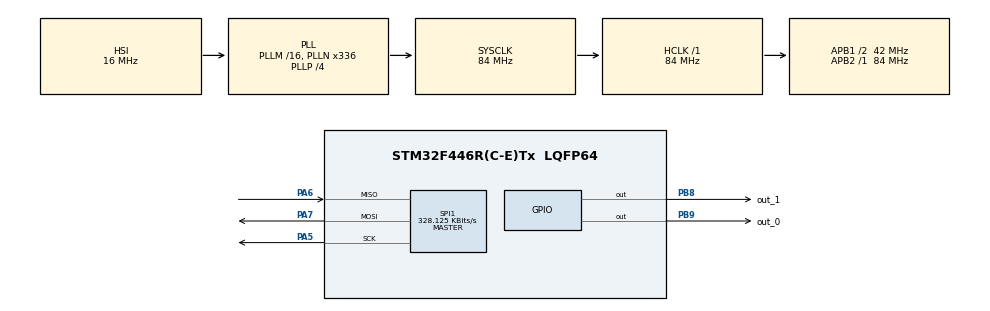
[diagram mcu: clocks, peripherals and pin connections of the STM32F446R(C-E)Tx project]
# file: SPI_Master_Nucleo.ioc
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Mcu.Family=STM32F4
Mcu.Name=STM32F446R(C-E)Tx
Mcu.Package=LQFP64
NVIC.PriorityGroup=NVIC_PRIORITYGROUP_0
NVIC.SPI1_IRQn=true\:0\:0\:false\:false\:true\:true\:true\:true
PA13.Mode=Serial_Wire
PA13.Signal=SYS_JTMS-SWDIO
PA14.Mode=Serial_Wire
PA14.Signal=SYS_JTCK-SWCLK
PA5.Mode=Full_Duplex_Master
PA5.Signal=SPI1_SCK
PA6.Mode=Full_Duplex_Master
PA6.Signal=SPI1_MISO
PA7.Mode=Full_Duplex_Master
PA7.Signal=SPI1_MOSI
PB8.GPIO_Label=out_1
PB8.Signal=GPIO_Output
PB9.GPIO_Label=out_0
PB9.Signal=GPIO_Output
PC14-OSC32_IN.Mode=LSE-External-Oscillator
PC14-OSC32_IN.Signal=RCC_OSC32_IN
PC15-OSC32_OUT.Mode=LSE-External-Oscillator
PC15-OSC32_OUT.Signal=RCC_OSC32_OUT
PH0-OSC_IN.Mode=HSE-External-Oscillator
PH0-OSC_IN.Signal=RCC_OSC_IN
PH1-OSC_OUT.Mode=HSE-External-Oscillator
PH1-OSC_OUT.Signal=RCC_OSC_OUT
ProjectManager.HeapSize=0x200
ProjectManager.StackSize=0x400
ProjectManager.TargetToolchain=STM32CubeIDE
RCC.48MHZClocksFreq_Value=84000000
RCC.AHBFreq_Value=84000000
RCC.APB1CLKDivider=RCC_HCLK_DIV2
RCC.APB1Freq_Value=42000000
RCC.APB1TimFreq_Value=84000000
RCC.APB2Freq_Value=84000000
RCC.APB2TimFreq_Value=84000000
RCC.CortexFreq_Value=84000000
RCC.FLatency-AdvancedSettings=FLASH_LATENCY_2
RCC.HCLKFreq_Value=84000000
RCC.HSE_VALUE=8000000
RCC.HSI_VALUE=16000000
RCC.PLLN=336
RCC.PLLP=RCC_PLLP_DIV4
RCC.SYSCLKFreq_VALUE=84000000
RCC.SYSCLKSource=RCC_SYSCLKSOURCE_PLLCLK
RCC.USBFreq_Value=168000000
RCC.VCOOutputFreq_Value=336000000
SPI1.BaudRatePrescaler=SPI_BAUDRATEPRESCALER_256
SPI1.CalculateBaudRate=328.125 KBits/s
SPI1.Direction=SPI_DIRECTION_2LINES
SPI1.Mode=SPI_MODE_MASTER
SPI1.VirtualType=VM_MASTER
board=NUCLEO-F446RE

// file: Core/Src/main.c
/* USER CODE BEGIN Header */
/**
  ******************************************************************************
  * @file           : main.c
  * @brief          : Main program body
  ******************************************************************************
  * @attention
  *
  * Copyright (c) 2023 STMicroelectronics.
  * All rights reserved.
  *
  * This software is licensed under terms that can be found in the LICENSE file
  * in the root directory of this software component.
  * If no LICENSE file comes with this software, it is provided AS-IS.
  *
  ******************************************************************************
  */
/* USER CODE END Header */
#include "main.h"
#include <math.h>

SPI_HandleTypeDef hspi1;

/* USER CODE BEGIN PV */
uint8_t  transmit_val[1];
/* USER CODE END PV */

void SystemClock_Config(void);
static void MX_GPIO_Init(void);
static void MX_SPI1_Init(void);

int main(void)
{

  /* MCU Configuration--------------------------------------------------------*/

  /* Reset of all peripherals, Initializes the Flash interface and the Systick. */
  HAL_Init();

  /* Configure the system clock */
  SystemClock_Config();

  /* Initialize all configured peripherals */
  MX_GPIO_Init();
  MX_SPI1_Init();
  /* USER CODE BEGIN 2 */
  HAL_SYSTICK_Config(SystemCoreClock / 1000);
  /* USER CODE END 2 */

  /* Infinite loop */
  /* USER CODE BEGIN WHILE */
  uint32_t hold_tick=0;
  uint8_t block_counter=0;
  while (1)
  {
	  ////////////////////////////////////////////////////////////////////////////////////////////////////////////////////////////////////////////////////////////////////////////////////////////////////
	  if(block_counter == 0 && abs((HAL_GetTick()-hold_tick >=5000))){
		  transmit_val[0] = 11;
				  HAL_SPI_Transmit(&hspi1,  transmit_val, sizeof(transmit_val), 100);
				  HAL_GPIO_WritePin(GPIOB, out_0_Pin, GPIO_PIN_RESET);
				  HAL_GPIO_WritePin(GPIOB, out_1_Pin, GPIO_PIN_RESET);

				  block_counter++;
				  hold_tick = HAL_GetTick();
	  }
		  ///////////////////////////////////////////////////////////////////////////////////////////////////////////////////////////////////////////////////
	  if(abs((HAL_GetTick()-hold_tick >=5000)) && block_counter == 1){	////////////////////////////////////////////////////////////////////////////////////////////////////////////////////////////////////////////////////////////////////////////////////////////////////
		  transmit_val[0] = 22;

					  HAL_SPI_Transmit(&hspi1,  transmit_val, sizeof(transmit_val), 100);
					  HAL_GPIO_WritePin(GPIOB, out_0_Pin, GPIO_PIN_RESET);
					  HAL_GPIO_WritePin(GPIOB, out_1_Pin, GPIO_PIN_RESET);

					  block_counter++;
					  hold_tick = HAL_GetTick();
			  ///////////////////////////////////////////////////////////////////////////////////////////////////////////////////////////////////////////////////
		  }
	  if(abs((HAL_GetTick()-hold_tick >=5000)) && block_counter == 2){	////////////////////////////////////////////////////////////////////////////////////////////////////////////////////////////////////////////////////////////////////////////////////////////////////
		  transmit_val[0] = 11;

					  HAL_SPI_Transmit(&hspi1,  transmit_val, sizeof(transmit_val), 100);
					  HAL_GPIO_WritePin(GPIOB, out_0_Pin, GPIO_PIN_SET);
					  HAL_GPIO_WritePin(GPIOB, out_1_Pin, GPIO_PIN_RESET);

					  block_counter++;
					  hold_tick = HAL_GetTick();
			  ///////////////////////////////////////////////////////////////////////////////////////////////////////////////////////////////////////////////////
		  }
	  if(abs((HAL_GetTick()-hold_tick >=5000)) && block_counter == 3){	////////////////////////////////////////////////////////////////////////////////////////////////////////////////////////////////////////////////////////////////////////////////////////////////////
		  transmit_val[0] = 22;

					  HAL_SPI_Transmit(&hspi1,  transmit_val, sizeof(transmit_val), 100);
					  HAL_GPIO_WritePin(GPIOB, out_0_Pin, GPIO_PIN_SET);
					  HAL_GPIO_WritePin(GPIOB, out_1_Pin, GPIO_PIN_RESET);

					  block_counter++;
					  hold_tick = HAL_GetTick();
			  ///////////////////////////////////////////////////////////////////////////////////////////////////////////////////////////////////////////////////
		  }
	  if(abs((HAL_GetTick()-hold_tick >=5000)) && block_counter == 4){	////////////////////////////////////////////////////////////////////////////////////////////////////////////////////////////////////////////////////////////////////////////////////////////////////
		  transmit_val[0] = 11;

					  HAL_SPI_Transmit(&hspi1,  transmit_val, sizeof(transmit_val), 100);
					  HAL_GPIO_WritePin(GPIOB, out_0_Pin, GPIO_PIN_RESET);
					  HAL_GPIO_WritePin(GPIOB, out_1_Pin, GPIO_PIN_SET);

					  block_counter++;
					  hold_tick = HAL_GetTick();
			  ///////////////////////////////////////////////////////////////////////////////////////////////////////////////////////////////////////////////////
		  }
	  if(abs((HAL_GetTick()-hold_tick >=5000))  && block_counter == 5){	////////////////////////////////////////////////////////////////////////////////////////////////////////////////////////////////////////////////////////////////////////////////////////////////////
		  transmit_val[0] = 22;

					  HAL_SPI_Transmit(&hspi1,  transmit_val, sizeof(transmit_val), 100);
					  HAL_GPIO_WritePin(GPIOB, out_0_Pin, GPIO_PIN_RESET);
					  HAL_GPIO_WritePin(GPIOB, out_1_Pin, GPIO_PIN_SET);

					  block_counter++;
					  hold_tick = HAL_GetTick();
			  ///////////////////////////////////////////////////////////////////////////////////////////////////////////////////////////////////////////////////
		  }
	  if(abs((HAL_GetTick()-hold_tick >=5000))&& block_counter == 6){	////////////////////////////////////////////////////////////////////////////////////////////////////////////////////////////////////////////////////////////////////////////////////////////////////
		  transmit_val[0] = 11;

					  HAL_SPI_Transmit(&hspi1,  transmit_val, sizeof(transmit_val), 100);
					  HAL_GPIO_WritePin(GPIOB, out_0_Pin, GPIO_PIN_SET);
					  HAL_GPIO_WritePin(GPIOB, out_1_Pin, GPIO_PIN_SET);

					  block_counter++;
					  hold_tick = HAL_GetTick();
			  ///////////////////////////////////////////////////////////////////////////////////////////////////////////////////////////////////////////////////
		  }
	  if(abs((HAL_GetTick()-hold_tick >=5000)) && block_counter == 7){	////////////////////////////////////////////////////////////////////////////////////////////////////////////////////////////////////////////////////////////////////////////////////////////////////
		  transmit_val[0] = 22;

					  HAL_SPI_Transmit(&hspi1,  transmit_val, sizeof(transmit_val), 100);
					  HAL_GPIO_WritePin(GPIOB, out_0_Pin, GPIO_PIN_SET);
					  HAL_GPIO_WritePin(GPIOB, out_1_Pin, GPIO_PIN_SET);

					  block_counter=0;
					  hold_tick = HAL_GetTick();
			  ///////////////////////////////////////////////////////////////////////////////////////////////////////////////////////////////////////////////////
		  }
  }
	    /* USER CODE END WHILE */
  /* USER CODE END 3 */
}

void SystemClock_Config(void)
{
  RCC_OscInitTypeDef RCC_OscInitStruct = {0};
  RCC_ClkInitTypeDef RCC_ClkInitStruct = {0};

  /** Configure the main internal regulator output voltage
  */
  __HAL_RCC_PWR_CLK_ENABLE();
  __HAL_PWR_VOLTAGESCALING_CONFIG(PWR_REGULATOR_VOLTAGE_SCALE3);

  /** Initializes the RCC Oscillators according to the specified parameters
  * in the RCC_OscInitTypeDef structure.
  */
  RCC_OscInitStruct.OscillatorType = RCC_OSCILLATORTYPE_HSI;
  RCC_OscInitStruct.HSIState = RCC_HSI_ON;
  RCC_OscInitStruct.HSICalibrationValue = RCC_HSICALIBRATION_DEFAULT;
  RCC_OscInitStruct.PLL.PLLState = RCC_PLL_ON;
  RCC_OscInitStruct.PLL.PLLSource = RCC_PLLSOURCE_HSI;
  RCC_OscInitStruct.PLL.PLLM = 16;
  RCC_OscInitStruct.PLL.PLLN = 336;
  RCC_OscInitStruct.PLL.PLLP = RCC_PLLP_DIV4;
  RCC_OscInitStruct.PLL.PLLQ = 2;
  RCC_OscInitStruct.PLL.PLLR = 2;
  if (HAL_RCC_OscConfig(&RCC_OscInitStruct) != HAL_OK)
  {
    Error_Handler();
  }

  /** Initializes the CPU, AHB and APB buses clocks
  */
  RCC_ClkInitStruct.ClockType = RCC_CLOCKTYPE_HCLK|RCC_CLOCKTYPE_SYSCLK
                              |RCC_CLOCKTYPE_PCLK1|RCC_CLOCKTYPE_PCLK2;
  RCC_ClkInitStruct.SYSCLKSource = RCC_SYSCLKSOURCE_PLLCLK;
  RCC_ClkInitStruct.AHBCLKDivider = RCC_SYSCLK_DIV1;
  RCC_ClkInitStruct.APB1CLKDivider = RCC_HCLK_DIV2;
  RCC_ClkInitStruct.APB2CLKDivider = RCC_HCLK_DIV1;

  if (HAL_RCC_ClockConfig(&RCC_ClkInitStruct, FLASH_LATENCY_2) != HAL_OK)
  {
    Error_Handler();
  }
}

static void MX_SPI1_Init(void)
{

  /* SPI1 parameter configuration*/
  hspi1.Instance = SPI1;
  hspi1.Init.Mode = SPI_MODE_MASTER;
  hspi1.Init.Direction = SPI_DIRECTION_2LINES;
  hspi1.Init.DataSize = SPI_DATASIZE_8BIT;
  hspi1.Init.CLKPolarity = SPI_POLARITY_LOW;
  hspi1.Init.CLKPhase = SPI_PHASE_1EDGE;
  hspi1.Init.NSS = SPI_NSS_SOFT;
  hspi1.Init.BaudRatePrescaler = SPI_BAUDRATEPRESCALER_256;
  hspi1.Init.FirstBit = SPI_FIRSTBIT_MSB;
  hspi1.Init.TIMode = SPI_TIMODE_DISABLE;
  hspi1.Init.CRCCalculation = SPI_CRCCALCULATION_DISABLE;
  hspi1.Init.CRCPolynomial = 10;
  if (HAL_SPI_Init(&hspi1) != HAL_OK)
  {
    Error_Handler();
  }

}

static void MX_GPIO_Init(void)
{
  GPIO_InitTypeDef GPIO_InitStruct = {0};

  /* GPIO Ports Clock Enable */
  __HAL_RCC_GPIOC_CLK_ENABLE();
  __HAL_RCC_GPIOH_CLK_ENABLE();
  __HAL_RCC_GPIOA_CLK_ENABLE();
  __HAL_RCC_GPIOB_CLK_ENABLE();

  /*Configure GPIO pin Output Level */
  HAL_GPIO_WritePin(GPIOB, out_1_Pin|out_0_Pin, GPIO_PIN_RESET);

  /*Configure GPIO pins : out_1_Pin out_0_Pin */
  GPIO_InitStruct.Pin = out_1_Pin|out_0_Pin;
  GPIO_InitStruct.Mode = GPIO_MODE_OUTPUT_PP;
  GPIO_InitStruct.Pull = GPIO_NOPULL;
  GPIO_InitStruct.Speed = GPIO_SPEED_FREQ_LOW;
  HAL_GPIO_Init(GPIOB, &GPIO_InitStruct);

}

void Error_Handler(void)
{
  __disable_irq();
  while (1)
  {
  }
}
